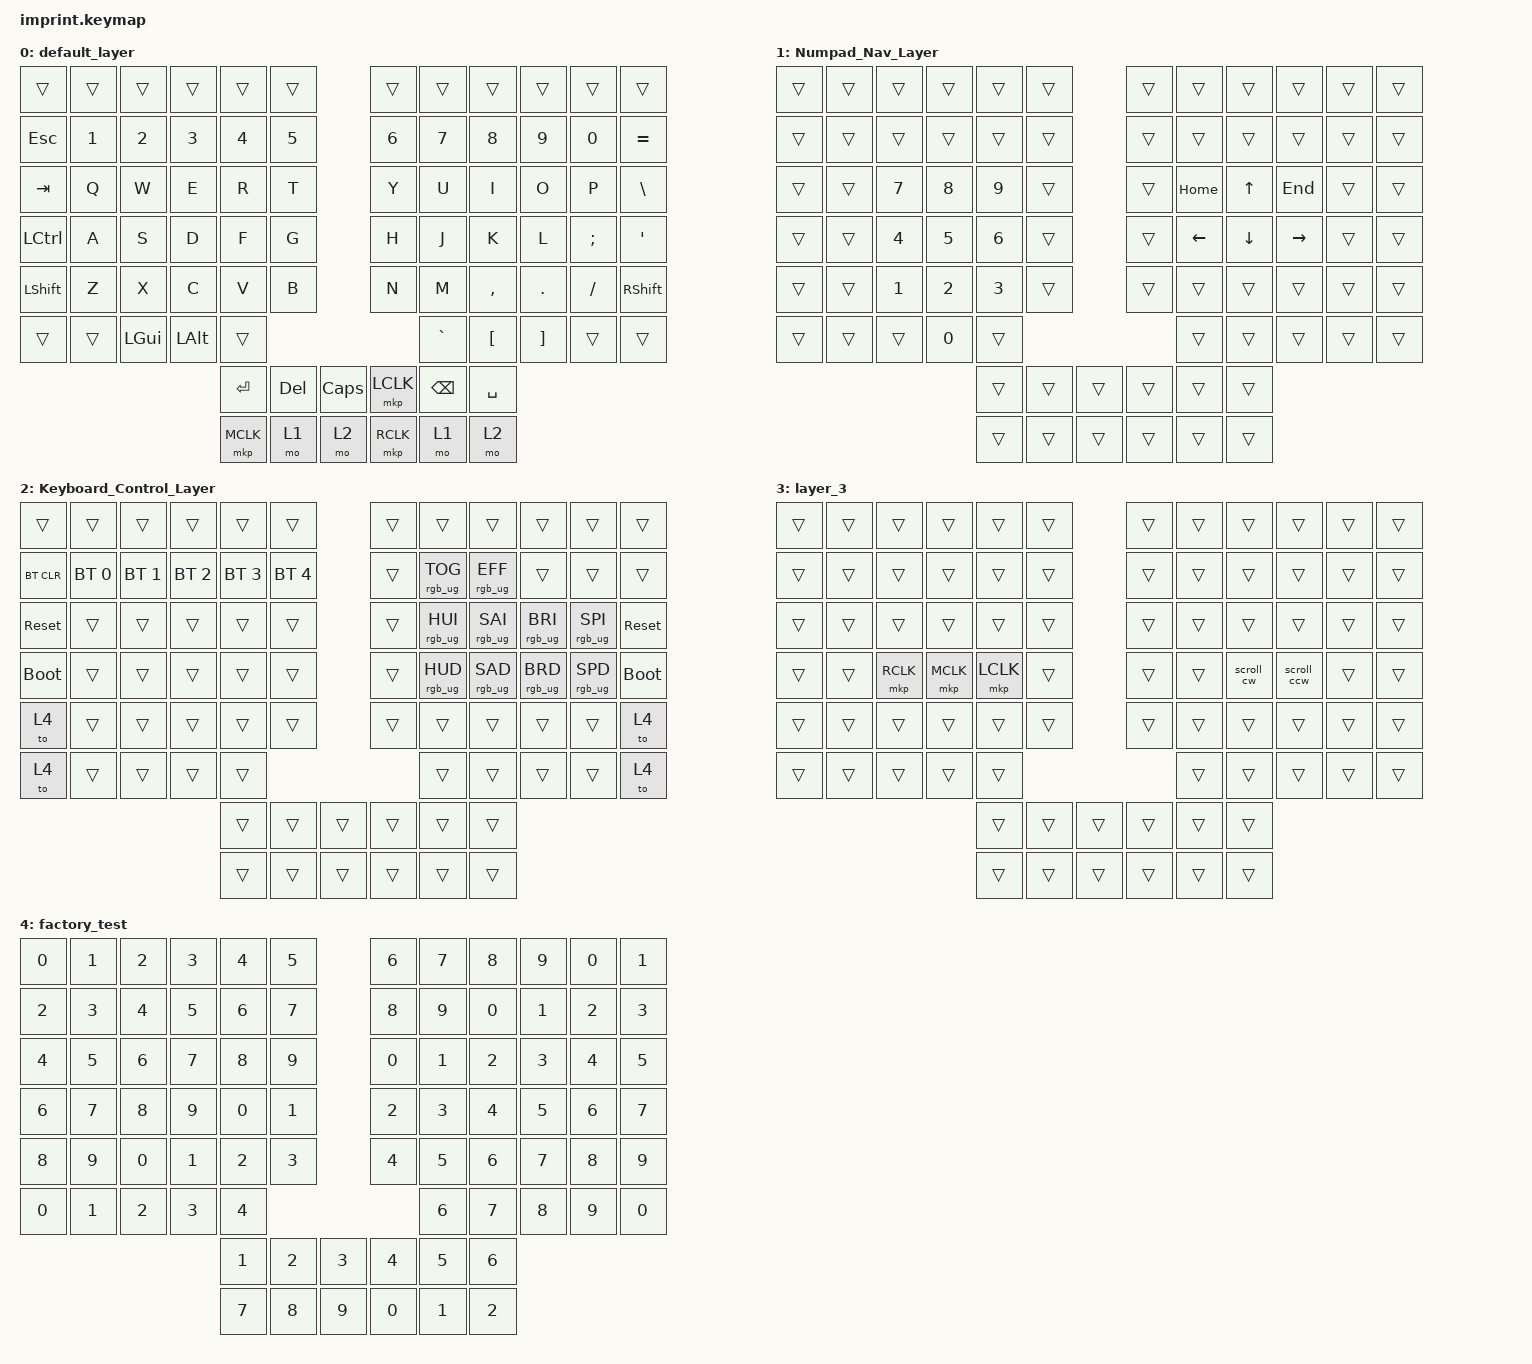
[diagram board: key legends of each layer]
#include <input/processors.dtsi>
#include <dt-bindings/zmk/input_transform.h>
#include <behaviors.dtsi>
#include <dt-bindings/zmk/bt.h>
#include <dt-bindings/zmk/keys.h>
#include <dt-bindings/zmk/pointing.h>
#include <dt-bindings/zmk/rgb.h>
/ {
  behaviors {
    scroll_cw: scroll_cw {
      compatible = "zmk,behavior-sensor-scroll";
      label = "SCROLL_CW";
      scroll-steps = <1>;
    };

    scroll_ccw: scroll_ccw {
      compatible = "zmk,behavior-sensor-scroll";
      label = "SCROLL_CCW";
      scroll-steps = <1>;
    };
  };
};

/ {
    chosen { zmk,matrix-transform = &imprint_function_row_full_bottom_row; };

    keymap {
        compatible = "zmk,keymap";

        default_layer {
            bindings = <
&trans     &trans  &trans    &trans    &trans    &trans              &trans     &trans    &trans     &trans    &trans    &trans
&kp ESC    &kp N1  &kp N2    &kp N3    &kp N4    &kp N5              &kp N6     &kp N7    &kp N8     &kp N9    &kp N0    &kp EQUAL
&kp TAB    &kp Q   &kp W     &kp E     &kp R     &kp T               &kp Y      &kp U     &kp I      &kp O     &kp P     &kp BSLH
&kp LCTRL  &kp A   &kp S     &kp D     &kp F     &kp G               &kp H      &kp J     &kp K      &kp L     &kp SEMI  &kp SQT
&kp LSHFT  &kp Z   &kp X     &kp C     &kp V     &kp B               &kp N      &kp M     &kp COMMA  &kp DOT   &kp FSLH  &kp RSHFT
&trans     &trans  &kp LGUI  &kp LALT  &trans                                   &kp GRAVE &kp LBKT   &kp RBKT  &trans    &trans
                                       &kp RET   &kp DEL  &kp CAPS   &mkp LCLK  &kp BSPC  &kp SPACE
                                       &mkp MCLK &mo 1    &mo 2      &mkp RCLK   &mo 1     &mo 2
            >;
        };

        Numpad_Nav_Layer {
            bindings = <
&trans  &trans  &trans  &trans  &trans  &trans            &trans  &trans    &trans    &trans     &trans  &trans
&trans  &trans  &trans  &trans  &trans  &trans            &trans  &trans    &trans    &trans     &trans  &trans
&trans  &trans  &kp N7  &kp N8  &kp N9  &trans            &trans  &kp HOME  &kp UP    &kp END    &trans  &trans
&trans  &trans  &kp N4  &kp N5  &kp N6  &trans            &trans  &kp LEFT  &kp DOWN  &kp RIGHT  &trans  &trans
&trans  &trans  &kp N1  &kp N2  &kp N3  &trans            &trans  &trans    &trans    &trans     &trans  &trans
&trans  &trans  &trans  &kp N0  &trans                            &trans    &trans    &trans     &trans  &trans
                                &trans  &trans  &trans    &trans  &trans    &trans
                                &trans  &trans  &trans    &trans  &trans    &trans
            >;
        };

        Keyboard_Control_Layer {
            bindings = <
&trans       &trans        &trans        &trans        &trans        &trans                  &trans  &trans           &trans           &trans           &trans           &trans
&bt BT_CLR   &bt BT_SEL 0  &bt BT_SEL 1  &bt BT_SEL 2  &bt BT_SEL 3  &bt BT_SEL 4            &trans  &rgb_ug RGB_TOG  &rgb_ug RGB_EFF  &trans           &trans           &trans
&sys_reset   &trans        &trans        &trans        &trans        &trans                  &trans  &rgb_ug RGB_HUI  &rgb_ug RGB_SAI  &rgb_ug RGB_BRI  &rgb_ug RGB_SPI  &sys_reset
&bootloader  &trans        &trans        &trans        &trans        &trans                  &trans  &rgb_ug RGB_HUD  &rgb_ug RGB_SAD  &rgb_ug RGB_BRD  &rgb_ug RGB_SPD  &bootloader
&to 4        &trans        &trans        &trans        &trans        &trans                  &trans  &trans           &trans           &trans           &trans           &to 4
&to 4        &trans        &trans        &trans        &trans                                        &trans           &trans           &trans           &trans           &to 4
                                                       &trans        &trans        &trans    &trans  &trans           &trans
                                                       &trans        &trans        &trans    &trans  &trans           &trans
            >;
        };

        layer_3 {
            bindings = <
&trans  &trans  &trans     &trans     &trans     &trans            &trans  &trans  &trans      &trans       &trans  &trans
&trans  &trans  &trans     &trans     &trans     &trans            &trans  &trans  &trans      &trans       &trans  &trans
&trans  &trans  &trans     &trans     &trans     &trans            &trans  &trans  &trans      &trans       &trans  &trans
&trans  &trans  &mkp RCLK  &mkp MCLK  &mkp LCLK  &trans            &trans  &trans  &scroll_cw  &scroll_ccw  &trans  &trans
&trans  &trans  &trans     &trans     &trans     &trans            &trans  &trans  &trans      &trans       &trans  &trans
&trans  &trans  &trans     &trans     &trans                               &trans  &trans      &trans       &trans  &trans
                                      &trans     &trans  &trans    &trans  &trans  &trans
                                      &trans     &trans  &trans    &trans  &trans  &trans
            >;
        };

        factory_test {
            bindings = <
&kp N0  &kp N1  &kp N2  &kp N3  &kp N4  &kp N5            &kp N6  &kp N7  &kp N8  &kp N9  &kp N0  &kp N1
&kp N2  &kp N3  &kp N4  &kp N5  &kp N6  &kp N7            &kp N8  &kp N9  &kp N0  &kp N1  &kp N2  &kp N3
&kp N4  &kp N5  &kp N6  &kp N7  &kp N8  &kp N9            &kp N0  &kp N1  &kp N2  &kp N3  &kp N4  &kp N5
&kp N6  &kp N7  &kp N8  &kp N9  &kp N0  &kp N1            &kp N2  &kp N3  &kp N4  &kp N5  &kp N6  &kp N7
&kp N8  &kp N9  &kp N0  &kp N1  &kp N2  &kp N3            &kp N4  &kp N5  &kp N6  &kp N7  &kp N8  &kp N9
&kp N0  &kp N1  &kp N2  &kp N3  &kp N4                            &kp N6  &kp N7  &kp N8  &kp N9  &kp N0
                                &kp N1  &kp N2  &kp N3    &kp N4  &kp N5  &kp N6
                                &kp N7  &kp N8  &kp N9    &kp N0  &kp N1  &kp N2
            >;
        };
    };
};

// right hand trackball configuration

&trackball_peripheral_listener {
    input-processors =
        <&zip_temp_layer 3 1000>;
};

//left hand trackball configuration

&trackball_central_listener {
    input-processors =
        // multiply sensitivity by 1, divide by 3 (make it slower for scrolling),
        <&zip_xy_scaler 1 10>,
        // make this trackball output scrolling events by default instead of cursor movement,
        <&zip_xy_to_scroll_mapper>,
        // invert vertical scrolling so that the view moves in the same direction as the top of the trackball.,
        <&zip_scroll_transform INPUT_TRANSFORM_Y_INVERT>;
};
